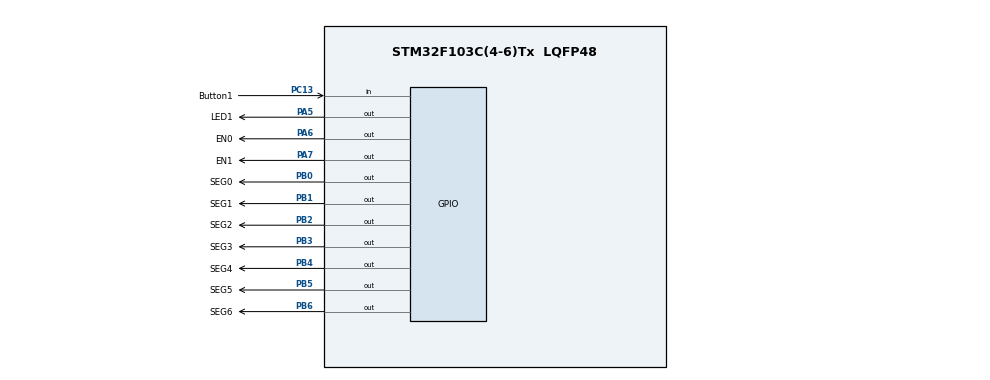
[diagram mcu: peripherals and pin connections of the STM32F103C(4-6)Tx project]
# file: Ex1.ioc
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Mcu.Family=STM32F1
Mcu.Name=STM32F103C(4-6)Tx
Mcu.Package=LQFP48
NVIC.PriorityGroup=NVIC_PRIORITYGROUP_4
NVIC.TIM2_IRQn=true\:0\:0\:false\:false\:true\:true\:true\:true
PA5.GPIO_Label=LED1
PA5.Signal=GPIO_Output
PA6.GPIO_Label=EN0
PA6.Signal=GPIO_Output
PA7.GPIO_Label=EN1
PA7.Signal=GPIO_Output
PB0.GPIO_Label=SEG0
PB0.Signal=GPIO_Output
PB1.GPIO_Label=SEG1
PB1.Signal=GPIO_Output
PB2.GPIO_Label=SEG2
PB2.Signal=GPIO_Output
PB3.GPIO_Label=SEG3
PB3.Signal=GPIO_Output
PB4.GPIO_Label=SEG4
PB4.Signal=GPIO_Output
PB5.GPIO_Label=SEG5
PB5.Signal=GPIO_Output
PB6.GPIO_Label=SEG6
PB6.Signal=GPIO_Output
PC13-TAMPER-RTC.GPIO_Label=Button1
PC13-TAMPER-RTC.GPIO_PuPd=GPIO_PULLUP
PC13-TAMPER-RTC.Signal=GPIO_Input
ProjectManager.HeapSize=0x200
ProjectManager.StackSize=0x400
ProjectManager.TargetToolchain=STM32CubeIDE
RCC.APB1Freq_Value=8000000
RCC.APB2Freq_Value=8000000
TIM2.Period=9
TIM2.Prescaler=7999
VP_TIM2_VS_ClockSourceINT.Mode=Internal
board=custom

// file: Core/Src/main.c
/* USER CODE BEGIN Header */
/**
  ******************************************************************************
  * @file           : main.c
  * @brief          : Main program body
  ******************************************************************************
  * @attention
  *
  * Copyright (c) 2022 STMicroelectronics.
  * All rights reserved.
  *
  * This software is licensed under terms that can be found in the LICENSE file
  * in the root directory of this software component.
  * If no LICENSE file comes with this software, it is provided AS-IS.
  *
  ******************************************************************************
  */
/* USER CODE END Header */
#include "main.h"

/* USER CODE BEGIN Includes */
#include "Software_Timer.h"

/* USER CODE END Includes */

TIM_HandleTypeDef htim2;

void SystemClock_Config(void);
static void MX_GPIO_Init(void);
static void MX_TIM2_Init(void);

/* USER CODE BEGIN 0 */

void display7SEG(int num){

	switch(num) {
	  case 0:
	    	HAL_GPIO_WritePin(SEG0_GPIO_Port, SEG0_Pin, RESET);
	    	HAL_GPIO_WritePin(SEG1_GPIO_Port, SEG1_Pin, RESET);
	    	HAL_GPIO_WritePin(SEG2_GPIO_Port, SEG2_Pin, RESET);
	    	HAL_GPIO_WritePin(SEG3_GPIO_Port, SEG3_Pin, RESET);
	    	HAL_GPIO_WritePin(SEG4_GPIO_Port, SEG4_Pin, RESET);
	    	HAL_GPIO_WritePin(SEG5_GPIO_Port, SEG5_Pin, RESET);
	    	HAL_GPIO_WritePin(SEG6_GPIO_Port, SEG6_Pin, SET);
		  	break;
	  case 1:
		    HAL_GPIO_WritePin(SEG0_GPIO_Port, SEG0_Pin, SET);
	    	HAL_GPIO_WritePin(SEG1_GPIO_Port, SEG1_Pin, RESET);
		   	HAL_GPIO_WritePin(SEG2_GPIO_Port, SEG2_Pin, RESET);
		  	HAL_GPIO_WritePin(SEG3_GPIO_Port, SEG3_Pin, SET);
		  	HAL_GPIO_WritePin(SEG4_GPIO_Port, SEG4_Pin, SET);
		   	HAL_GPIO_WritePin(SEG5_GPIO_Port, SEG5_Pin, SET);
		   	HAL_GPIO_WritePin(SEG6_GPIO_Port, SEG6_Pin, SET);
		  	break;
	  case 2:
		    HAL_GPIO_WritePin(SEG0_GPIO_Port, SEG0_Pin, RESET);
		    HAL_GPIO_WritePin(SEG1_GPIO_Port, SEG1_Pin, RESET);
		    HAL_GPIO_WritePin(SEG2_GPIO_Port, SEG2_Pin, SET);
		    HAL_GPIO_WritePin(SEG3_GPIO_Port, SEG3_Pin, RESET);
		    HAL_GPIO_WritePin(SEG4_GPIO_Port, SEG4_Pin, RESET);
		    HAL_GPIO_WritePin(SEG5_GPIO_Port, SEG5_Pin, SET);
		    HAL_GPIO_WritePin(SEG6_GPIO_Port, SEG6_Pin, RESET);
		   	break;
	  case 3:
		  	HAL_GPIO_WritePin(SEG0_GPIO_Port, SEG0_Pin, RESET);
		    HAL_GPIO_WritePin(SEG1_GPIO_Port, SEG1_Pin, RESET);
		    HAL_GPIO_WritePin(SEG2_GPIO_Port, SEG2_Pin, RESET);
		    HAL_GPIO_WritePin(SEG3_GPIO_Port, SEG3_Pin, RESET);
		    HAL_GPIO_WritePin(SEG4_GPIO_Port, SEG4_Pin, SET);
		    HAL_GPIO_WritePin(SEG5_GPIO_Port, SEG5_Pin, SET);
		  	HAL_GPIO_WritePin(SEG6_GPIO_Port, SEG6_Pin, RESET);
		  	break;
	  case 4:
		  	HAL_GPIO_WritePin(SEG0_GPIO_Port, SEG0_Pin, SET);
		    HAL_GPIO_WritePin(SEG1_GPIO_Port, SEG1_Pin, RESET);
		    HAL_GPIO_WritePin(SEG2_GPIO_Port, SEG2_Pin, RESET);
		    HAL_GPIO_WritePin(SEG3_GPIO_Port, SEG3_Pin, SET);
		    HAL_GPIO_WritePin(SEG4_GPIO_Port, SEG4_Pin, SET);
		    HAL_GPIO_WritePin(SEG5_GPIO_Port, SEG5_Pin, RESET);
		    HAL_GPIO_WritePin(SEG6_GPIO_Port, SEG6_Pin, RESET);
		    break;
	  case 5:
		    HAL_GPIO_WritePin(SEG0_GPIO_Port, SEG0_Pin, RESET);
		    HAL_GPIO_WritePin(SEG1_GPIO_Port, SEG1_Pin, SET);
		    HAL_GPIO_WritePin(SEG2_GPIO_Port, SEG2_Pin, RESET);
		    HAL_GPIO_WritePin(SEG3_GPIO_Port, SEG3_Pin, RESET);
		    HAL_GPIO_WritePin(SEG4_GPIO_Port, SEG4_Pin, SET);
		    HAL_GPIO_WritePin(SEG5_GPIO_Port, SEG5_Pin, RESET);
		    HAL_GPIO_WritePin(SEG6_GPIO_Port, SEG6_Pin, RESET);
	  	    break;
	  case 6:
		  	HAL_GPIO_WritePin(SEG0_GPIO_Port, SEG0_Pin, RESET);
		    HAL_GPIO_WritePin(SEG1_GPIO_Port, SEG1_Pin, SET);
		    HAL_GPIO_WritePin(SEG2_GPIO_Port, SEG2_Pin, RESET);
		    HAL_GPIO_WritePin(SEG3_GPIO_Port, SEG3_Pin, RESET);
		    HAL_GPIO_WritePin(SEG4_GPIO_Port, SEG4_Pin, RESET);
		    HAL_GPIO_WritePin(SEG5_GPIO_Port, SEG5_Pin, RESET);
		    HAL_GPIO_WritePin(SEG6_GPIO_Port, SEG6_Pin, RESET);
		    break;
	  case 7:
	  		HAL_GPIO_WritePin(SEG0_GPIO_Port, SEG0_Pin, RESET);
	  		HAL_GPIO_WritePin(SEG1_GPIO_Port, SEG1_Pin, RESET);
	  	    HAL_GPIO_WritePin(SEG2_GPIO_Port, SEG2_Pin, RESET);
	  	    HAL_GPIO_WritePin(SEG3_GPIO_Port, SEG3_Pin, SET);
		    HAL_GPIO_WritePin(SEG4_GPIO_Port, SEG4_Pin, SET);
 		    HAL_GPIO_WritePin(SEG5_GPIO_Port, SEG5_Pin, SET);
		    HAL_GPIO_WritePin(SEG6_GPIO_Port, SEG6_Pin, SET);
	  		break;
	  case 8:
	    	HAL_GPIO_WritePin(SEG0_GPIO_Port, SEG0_Pin, RESET);
		    HAL_GPIO_WritePin(SEG1_GPIO_Port, SEG1_Pin, RESET);
		    HAL_GPIO_WritePin(SEG2_GPIO_Port, SEG2_Pin, RESET);
		    HAL_GPIO_WritePin(SEG3_GPIO_Port, SEG3_Pin, RESET);
	        HAL_GPIO_WritePin(SEG4_GPIO_Port, SEG4_Pin, RESET);
	  	    HAL_GPIO_WritePin(SEG5_GPIO_Port, SEG5_Pin, RESET);
		    HAL_GPIO_WritePin(SEG6_GPIO_Port, SEG6_Pin, RESET);
		    break;
	  case 9:
	  		HAL_GPIO_WritePin(SEG0_GPIO_Port, SEG0_Pin, RESET);
	  		HAL_GPIO_WritePin(SEG1_GPIO_Port, SEG1_Pin, RESET);
	  		HAL_GPIO_WritePin(SEG2_GPIO_Port, SEG2_Pin, RESET);
	  	    HAL_GPIO_WritePin(SEG3_GPIO_Port, SEG3_Pin, RESET);
	  	    HAL_GPIO_WritePin(SEG4_GPIO_Port, SEG4_Pin, SET);
		    HAL_GPIO_WritePin(SEG5_GPIO_Port, SEG5_Pin, RESET);
	  		HAL_GPIO_WritePin(SEG6_GPIO_Port, SEG6_Pin, RESET);
	  	    break;
	  default:
		  	break;
	}

}

/* USER CODE END 0 */

int main(void)
{

  /* MCU Configuration--------------------------------------------------------*/

  /* Reset of all peripherals, Initializes the Flash interface and the Systick. */
  HAL_Init();

  /* Configure the system clock */
  SystemClock_Config();

  /* Initialize all configured peripherals */
  MX_GPIO_Init();
  MX_TIM2_Init();
  /* USER CODE BEGIN 2 */
  HAL_TIM_Base_Start_IT(&htim2);

  /* USER CODE END 2 */

  /* Infinite loop */
  /* USER CODE BEGIN WHILE */

    // Initiate something
    //HAL_GPIO_WritePin(LED1_GPIO_Port, LED1_Pin, SET);
    //

    //setTimer1(1);						// (*) Need to SetTimer
    while (1)
    {
    	/*
  	  if (timer1_flag == 1){
  		  setTimer1(1); 			// (*) Need to SetTimer

  		  //TODO
  		  HAL_GPIO_TogglePin(LED1_GPIO_Port, LED1_Pin);
  		  */

    /* USER CODE END WHILE */

    }
}

void SystemClock_Config(void)
{
  RCC_OscInitTypeDef RCC_OscInitStruct = {0};
  RCC_ClkInitTypeDef RCC_ClkInitStruct = {0};

  /** Initializes the RCC Oscillators according to the specified parameters
  * in the RCC_OscInitTypeDef structure.
  */
  RCC_OscInitStruct.OscillatorType = RCC_OSCILLATORTYPE_HSI;
  RCC_OscInitStruct.HSIState = RCC_HSI_ON;
  RCC_OscInitStruct.HSICalibrationValue = RCC_HSICALIBRATION_DEFAULT;
  RCC_OscInitStruct.PLL.PLLState = RCC_PLL_NONE;
  if (HAL_RCC_OscConfig(&RCC_OscInitStruct) != HAL_OK)
  {
    Error_Handler();
  }

  /** Initializes the CPU, AHB and APB buses clocks
  */
  RCC_ClkInitStruct.ClockType = RCC_CLOCKTYPE_HCLK|RCC_CLOCKTYPE_SYSCLK
                              |RCC_CLOCKTYPE_PCLK1|RCC_CLOCKTYPE_PCLK2;
  RCC_ClkInitStruct.SYSCLKSource = RCC_SYSCLKSOURCE_HSI;
  RCC_ClkInitStruct.AHBCLKDivider = RCC_SYSCLK_DIV1;
  RCC_ClkInitStruct.APB1CLKDivider = RCC_HCLK_DIV1;
  RCC_ClkInitStruct.APB2CLKDivider = RCC_HCLK_DIV1;

  if (HAL_RCC_ClockConfig(&RCC_ClkInitStruct, FLASH_LATENCY_0) != HAL_OK)
  {
    Error_Handler();
  }
}

static void MX_TIM2_Init(void)
{

  TIM_ClockConfigTypeDef sClockSourceConfig = {0};
  TIM_MasterConfigTypeDef sMasterConfig = {0};

  htim2.Instance = TIM2;
  htim2.Init.Prescaler = 7999;
  htim2.Init.CounterMode = TIM_COUNTERMODE_UP;
  htim2.Init.Period = 9;
  htim2.Init.ClockDivision = TIM_CLOCKDIVISION_DIV1;
  htim2.Init.AutoReloadPreload = TIM_AUTORELOAD_PRELOAD_DISABLE;
  if (HAL_TIM_Base_Init(&htim2) != HAL_OK)
  {
    Error_Handler();
  }
  sClockSourceConfig.ClockSource = TIM_CLOCKSOURCE_INTERNAL;
  if (HAL_TIM_ConfigClockSource(&htim2, &sClockSourceConfig) != HAL_OK)
  {
    Error_Handler();
  }
  sMasterConfig.MasterOutputTrigger = TIM_TRGO_RESET;
  sMasterConfig.MasterSlaveMode = TIM_MASTERSLAVEMODE_DISABLE;
  if (HAL_TIMEx_MasterConfigSynchronization(&htim2, &sMasterConfig) != HAL_OK)
  {
    Error_Handler();
  }

}

static void MX_GPIO_Init(void)
{
  GPIO_InitTypeDef GPIO_InitStruct = {0};

  /* GPIO Ports Clock Enable */
  __HAL_RCC_GPIOC_CLK_ENABLE();
  __HAL_RCC_GPIOA_CLK_ENABLE();
  __HAL_RCC_GPIOB_CLK_ENABLE();

  /*Configure GPIO pin Output Level */
  HAL_GPIO_WritePin(GPIOA, LED1_Pin|EN0_Pin|EN1_Pin, GPIO_PIN_RESET);

  /*Configure GPIO pin Output Level */
  HAL_GPIO_WritePin(GPIOB, SEG0_Pin|SEG1_Pin|SEG2_Pin|SEG3_Pin
                          |SEG4_Pin|SEG5_Pin|SEG6_Pin, GPIO_PIN_RESET);

  /*Configure GPIO pin : Button1_Pin */
  GPIO_InitStruct.Pin = Button1_Pin;
  GPIO_InitStruct.Mode = GPIO_MODE_INPUT;
  GPIO_InitStruct.Pull = GPIO_PULLUP;
  HAL_GPIO_Init(Button1_GPIO_Port, &GPIO_InitStruct);

  /*Configure GPIO pins : LED1_Pin EN0_Pin EN1_Pin */
  GPIO_InitStruct.Pin = LED1_Pin|EN0_Pin|EN1_Pin;
  GPIO_InitStruct.Mode = GPIO_MODE_OUTPUT_PP;
  GPIO_InitStruct.Pull = GPIO_NOPULL;
  GPIO_InitStruct.Speed = GPIO_SPEED_FREQ_LOW;
  HAL_GPIO_Init(GPIOA, &GPIO_InitStruct);

  /*Configure GPIO pins : SEG0_Pin SEG1_Pin SEG2_Pin SEG3_Pin
                           SEG4_Pin SEG5_Pin SEG6_Pin */
  GPIO_InitStruct.Pin = SEG0_Pin|SEG1_Pin|SEG2_Pin|SEG3_Pin
                          |SEG4_Pin|SEG5_Pin|SEG6_Pin;
  GPIO_InitStruct.Mode = GPIO_MODE_OUTPUT_PP;
  GPIO_InitStruct.Pull = GPIO_NOPULL;
  GPIO_InitStruct.Speed = GPIO_SPEED_FREQ_LOW;
  HAL_GPIO_Init(GPIOB, &GPIO_InitStruct);

}

/* USER CODE BEGIN 4 */
int counter = 100;		//thiet lap he so
int state = 0;

void HAL_TIM_PeriodElapsedCallback(TIM_HandleTypeDef *htim){

	if (counter ==  1){
			//BEGIN-TODO

		if (state == 0){
				HAL_GPIO_WritePin(EN1_GPIO_Port, EN1_Pin, SET);
				display7SEG(1);
				HAL_GPIO_WritePin(EN0_GPIO_Port, EN0_Pin, RESET);
		}
		else{
				HAL_GPIO_WritePin(EN0_GPIO_Port, EN0_Pin, SET);
				display7SEG(2);
				HAL_GPIO_WritePin(EN1_GPIO_Port, EN1_Pin, RESET);
		}
		state = 1 - state;
			//END-TODO
		counter = 100;				// * thay doi he so *
	}
	else counter--;
}
/* USER CODE END 4 */

void Error_Handler(void)
{
  __disable_irq();
  while (1)
  {
  }
}
